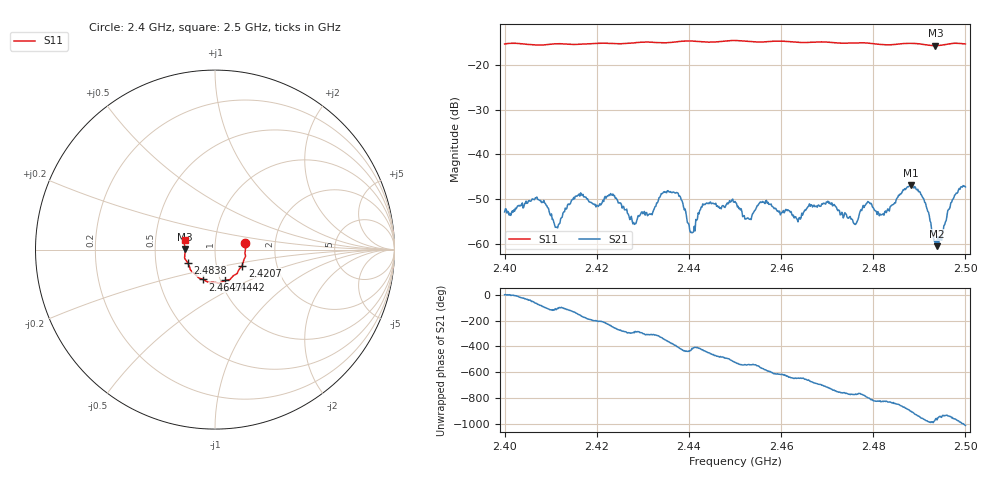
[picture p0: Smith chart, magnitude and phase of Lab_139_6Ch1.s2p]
# Hz S RI R 50
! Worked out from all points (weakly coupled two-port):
!   601 points, 2.4 GHz to 2.5 GHz, reference 50 ohm
!   highest |S21| = -46.90 dB at 2.4882 GHz (marker M1); lowest = -60.6 dB at 2.4938 GHz (marker M2)
!   lowest |S11| = -15.6 dB at 2.4935 GHz (marker M3), VSWR 1.40, Z = 35.8 + j0.127 ohm
!   |S11| at or under -10 dB: start of sweep to end of sweep
!   S12 and S22 are empty: the file has one direction only
!   S11 on the Smith chart (normalised r, x): 2.4 GHz: 1.40, +0.11; 2.4207 GHz: 1.33, -0.24; 2.4442 GHz: 1.05, -0.37; 2.4647 GHz: 0.83, -0.29; 2.4838 GHz: 0.73, -0.11; 2.5 GHz: 0.71, +0.08
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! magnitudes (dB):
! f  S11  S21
! 2.4 GHz  -15.2  -52.9
! 2.4072 GHz  -15.5  -50.1
! 2.4113 GHz  -15.2  -56.3
! 2.4167 GHz  -15.3  -49.0
! 2.4207 GHz  -15.1  -51.1
! 2.4235 GHz  -15.2  -48.9
! 2.4282 GHz  -15.0  -55.7
! 2.4333 GHz  -15.0  -50.4
! 2.4377 GHz  -14.7  -48.7
! 2.4408 GHz  -14.6  -57.5
! 2.4442 GHz  -14.8  -50.9
! 2.45 GHz  -14.5  -50.6
! 2.4647 GHz  -14.9  -53.6
! 2.4667 GHz  -14.9  -51.4
! 2.476 GHz  -15.0  -55.7
! 2.4833 GHz  -15.5  -52.4
! 2.4838 GHz  -15.4  -51.6
! 2.4882 GHz  -15.1  -46.9
! 2.491 GHz  -15.4  -50.0
! 2.4935 GHz  -15.6  -60.2
! 2.4938 GHz  -15.6  -60.6
! 2.5 GHz  -15.3  -47.3
